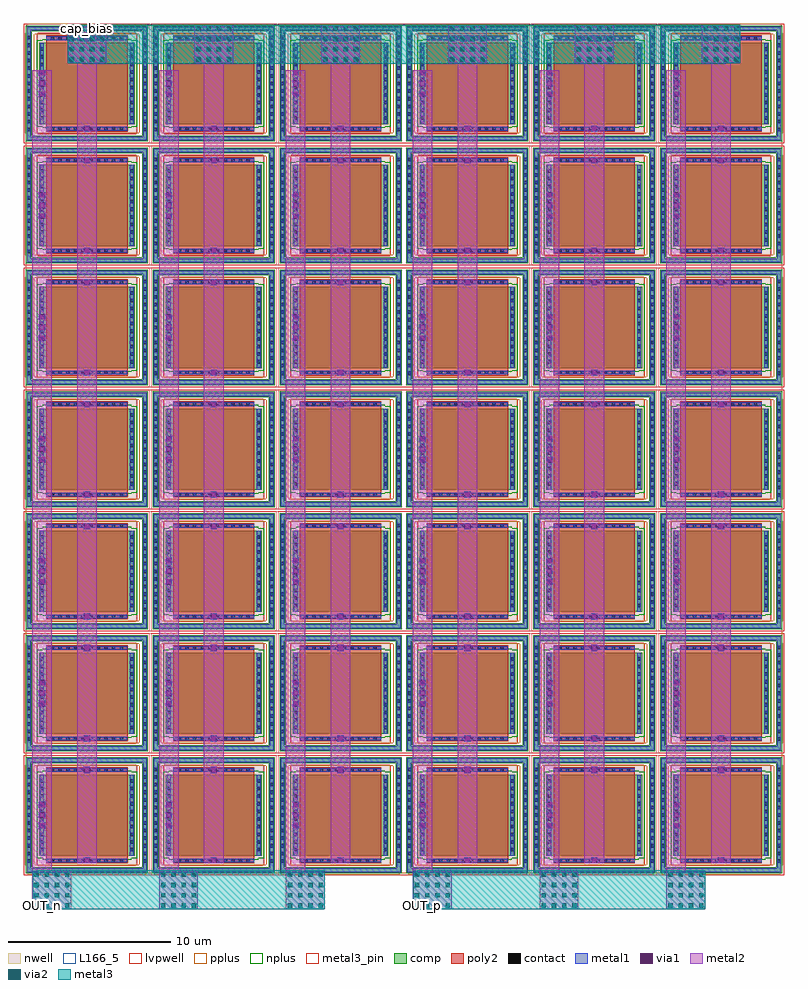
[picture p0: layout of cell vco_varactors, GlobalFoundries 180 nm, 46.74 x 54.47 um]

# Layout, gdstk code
import gdstk
lib = gdstk.Library(unit=1e-6, precision=1e-09)
def R(c, l, rs):  # rectangles x0, y0, x1, y1
    for r in rs: c.add(gdstk.rectangle(r[:2], r[2:], *l))
def A(c, l, x, y, w, h, nx, ny, dx, dy):  # array of equal rectangles
    R(c, l, [(x+i*dx, y+j*dy, x+i*dx+w, y+j*dy+h) for i in range(nx) for j in range(ny)])
nwell = (21, 0)
comp = (22, 0)
poly2 = (30, 0)
pplus = (31, 0)
nplus = (32, 0)
contact = (33, 0)
metal1 = (34, 0)
via1 = (35, 0)
metal2 = (36, 0)
via2 = (38, 0)
metal3 = (42, 0)
metal3_pin = (42, 10)
L166_5 = (166, 5)
lvpwell = (204, 0)

vco_varactors = lib.new_cell('vco_varactors')
A(vco_varactors, nwell, 0.51, 0.3, 6.12, 6.16, 6, 7, 7.8, 7.5)
A(vco_varactors, comp, -0.18, -0.18, 7.5, 0.36, 6, 2, 7.8, 6.76)
A(vco_varactors, comp, -0.18, 0.18, 0.36, 6.4, 1, 7, 0, 7.5)
A(vco_varactors, comp, 6.96, 0.18, 0.36, 6.4, 1, 7, 0, 7.5)
A(vco_varactors, comp, 7.62, 0.18, 0.36, 6.4, 1, 7, 0, 7.5)
A(vco_varactors, comp, 14.76, 0.18, 0.36, 6.4, 1, 7, 0, 7.5)
A(vco_varactors, comp, 15.42, 0.18, 0.36, 6.4, 1, 7, 0, 7.5)
A(vco_varactors, comp, 22.56, 0.18, 0.36, 6.4, 1, 7, 0, 7.5)
A(vco_varactors, comp, 23.22, 0.18, 0.36, 6.4, 1, 7, 0, 7.5)
A(vco_varactors, comp, 30.36, 0.18, 0.36, 6.4, 1, 7, 0, 7.5)
A(vco_varactors, comp, 31.02, 0.18, 0.36, 6.4, 1, 7, 0, 7.5)
A(vco_varactors, comp, 38.16, 0.18, 0.36, 6.4, 1, 7, 0, 7.5)
A(vco_varactors, comp, 38.82, 0.18, 0.36, 6.4, 1, 7, 0, 7.5)
A(vco_varactors, comp, 45.96, 0.18, 0.36, 6.4, 1, 7, 0, 7.5)
A(vco_varactors, comp, 0.63, 0.88, 5.88, 5, 6, 7, 7.8, 7.5)
A(vco_varactors, comp, -0.18, 7.32, 7.5, 0.36, 6, 2, 7.8, 6.76)
A(vco_varactors, comp, -0.18, 14.82, 7.5, 0.36, 6, 2, 7.8, 6.76)
A(vco_varactors, comp, -0.18, 22.32, 7.5, 0.36, 6, 2, 7.8, 6.76)
A(vco_varactors, comp, -0.18, 29.82, 7.5, 0.36, 6, 2, 7.8, 6.76)
A(vco_varactors, comp, -0.18, 37.32, 7.5, 0.36, 6, 2, 7.8, 6.76)
A(vco_varactors, comp, -0.18, 44.82, 7.5, 0.36, 6, 2, 7.8, 6.76)
A(vco_varactors, poly2, 1.07, 0.42, 5, 5.92, 6, 7, 7.8, 7.5)
A(vco_varactors, pplus, -0.08, -0.29, 7.3, 0.09, 6, 2, 7.8, 52.25)
A(vco_varactors, pplus, -0.21, 0.34, 0.55, 6.08, 1, 7, 0, 7.5)
A(vco_varactors, pplus, 6.8, 0.34, 1.34, 6.08, 5, 7, 7.8, 7.5)
A(vco_varactors, pplus, 45.8, 0.34, 0.55, 6.08, 1, 7, 0, 7.5)
A(vco_varactors, pplus, -0.2, 6.455, 46.54, 1.35, 1, 6, 0, 7.5)
R(vco_varactors, pplus, [(-0.2,-0.2,46.34,0.305), (-0.21,0.305,46.35,0.34), (-0.21,6.42,46.35,6.455), (-0.21,7.805,46.35,7.84), (-0.21,13.92,46.35,13.955), (-0.21,15.305,46.35,15.34), (-0.21,21.42,46.35,21.455), (-0.21,22.805,46.35,22.84), (-0.21,28.92,46.35,28.955), (-0.21,30.305,46.35,30.34), (-0.21,36.42,46.35,36.455), (-0.21,37.805,46.35,37.84), (-0.21,43.92,46.35,43.955), (-0.21,45.305,46.35,45.34), (-0.21,51.42,46.35,51.455), (-0.2,51.455,46.34,51.96)])
A(vco_varactors, nplus, 0.84, 0.65, 5.46, 0.07, 6, 2, 7.8, 5.39)
A(vco_varactors, nplus, 0.47, 0.72, 6.2, 5.32, 6, 7, 7.8, 7.5)
A(vco_varactors, nplus, 0.84, 8.15, 5.46, 0.07, 6, 2, 7.8, 5.39)
A(vco_varactors, nplus, 0.84, 15.65, 5.46, 0.07, 6, 2, 7.8, 5.39)
A(vco_varactors, nplus, 0.84, 23.15, 5.46, 0.07, 6, 2, 7.8, 5.39)
A(vco_varactors, nplus, 0.84, 30.65, 5.46, 0.07, 6, 2, 7.8, 5.39)
A(vco_varactors, nplus, 0.84, 38.15, 5.46, 0.07, 6, 2, 7.8, 5.39)
A(vco_varactors, nplus, 0.84, 45.65, 5.46, 0.07, 6, 2, 7.8, 5.39)
A(vco_varactors, contact, -0.11, 0.45, 0.22, 0.22, 1, 13, 0, 0.47)
A(vco_varactors, contact, 7.03, 0.45, 0.22, 0.22, 1, 13, 0, 0.47)
A(vco_varactors, contact, 7.69, 0.45, 0.22, 0.22, 1, 13, 0, 0.47)
A(vco_varactors, contact, 14.83, 0.45, 0.22, 0.22, 1, 13, 0, 0.47)
A(vco_varactors, contact, 15.49, 0.45, 0.22, 0.22, 1, 13, 0, 0.47)
A(vco_varactors, contact, 22.63, 0.45, 0.22, 0.22, 1, 13, 0, 0.47)
A(vco_varactors, contact, 23.29, 0.45, 0.22, 0.22, 1, 13, 0, 0.47)
A(vco_varactors, contact, 30.43, 0.45, 0.22, 0.22, 1, 13, 0, 0.47)
A(vco_varactors, contact, 31.09, 0.45, 0.22, 0.22, 1, 13, 0, 0.47)
A(vco_varactors, contact, 38.23, 0.45, 0.22, 0.22, 1, 13, 0, 0.47)
A(vco_varactors, contact, 38.89, 0.45, 0.22, 0.22, 1, 13, 0, 0.47)
A(vco_varactors, contact, 46.03, 0.45, 0.22, 0.22, 1, 13, 0, 0.47)
A(vco_varactors, contact, 1.345, 0.49, 0.22, 0.22, 10, 2, 0.47, 5.56)
A(vco_varactors, contact, 9.145, 0.49, 0.22, 0.22, 10, 2, 0.47, 5.56)
A(vco_varactors, contact, 16.945, 0.49, 0.22, 0.22, 10, 2, 0.47, 5.56)
A(vco_varactors, contact, 24.745, 0.49, 0.22, 0.22, 10, 2, 0.47, 5.56)
A(vco_varactors, contact, 32.545, 0.49, 0.22, 0.22, 10, 2, 0.47, 5.56)
A(vco_varactors, contact, 40.345, 0.49, 0.22, 0.22, 10, 2, 0.47, 5.56)
A(vco_varactors, contact, 0.7, 1.155, 0.22, 0.22, 1, 10, 0, 0.47)
A(vco_varactors, contact, 6.22, 1.155, 0.22, 0.22, 1, 10, 0, 0.47)
A(vco_varactors, contact, 8.5, 1.155, 0.22, 0.22, 1, 10, 0, 0.47)
A(vco_varactors, contact, 14.02, 1.155, 0.22, 0.22, 1, 10, 0, 0.47)
A(vco_varactors, contact, 16.3, 1.155, 0.22, 0.22, 1, 10, 0, 0.47)
A(vco_varactors, contact, 21.82, 1.155, 0.22, 0.22, 1, 10, 0, 0.47)
A(vco_varactors, contact, 24.1, 1.155, 0.22, 0.22, 1, 10, 0, 0.47)
A(vco_varactors, contact, 29.62, 1.155, 0.22, 0.22, 1, 10, 0, 0.47)
A(vco_varactors, contact, 31.9, 1.155, 0.22, 0.22, 1, 10, 0, 0.47)
A(vco_varactors, contact, 37.42, 1.155, 0.22, 0.22, 1, 10, 0, 0.47)
A(vco_varactors, contact, 39.7, 1.155, 0.22, 0.22, 1, 10, 0, 0.47)
A(vco_varactors, contact, 45.22, 1.155, 0.22, 0.22, 1, 10, 0, 0.47)
A(vco_varactors, contact, -0.11, 7.95, 0.22, 0.22, 1, 13, 0, 0.47)
A(vco_varactors, contact, 7.03, 7.95, 0.22, 0.22, 1, 13, 0, 0.47)
A(vco_varactors, contact, 7.69, 7.95, 0.22, 0.22, 1, 13, 0, 0.47)
A(vco_varactors, contact, 14.83, 7.95, 0.22, 0.22, 1, 13, 0, 0.47)
A(vco_varactors, contact, 15.49, 7.95, 0.22, 0.22, 1, 13, 0, 0.47)
A(vco_varactors, contact, 22.63, 7.95, 0.22, 0.22, 1, 13, 0, 0.47)
A(vco_varactors, contact, 23.29, 7.95, 0.22, 0.22, 1, 13, 0, 0.47)
A(vco_varactors, contact, 30.43, 7.95, 0.22, 0.22, 1, 13, 0, 0.47)
A(vco_varactors, contact, 31.09, 7.95, 0.22, 0.22, 1, 13, 0, 0.47)
A(vco_varactors, contact, 38.23, 7.95, 0.22, 0.22, 1, 13, 0, 0.47)
A(vco_varactors, contact, 38.89, 7.95, 0.22, 0.22, 1, 13, 0, 0.47)
A(vco_varactors, contact, 46.03, 7.95, 0.22, 0.22, 1, 13, 0, 0.47)
A(vco_varactors, contact, 1.345, 7.99, 0.22, 0.22, 10, 2, 0.47, 5.56)
A(vco_varactors, contact, 9.145, 7.99, 0.22, 0.22, 10, 2, 0.47, 5.56)
A(vco_varactors, contact, 16.945, 7.99, 0.22, 0.22, 10, 2, 0.47, 5.56)
A(vco_varactors, contact, 24.745, 7.99, 0.22, 0.22, 10, 2, 0.47, 5.56)
A(vco_varactors, contact, 32.545, 7.99, 0.22, 0.22, 10, 2, 0.47, 5.56)
A(vco_varactors, contact, 40.345, 7.99, 0.22, 0.22, 10, 2, 0.47, 5.56)
A(vco_varactors, contact, 0.7, 8.655, 0.22, 0.22, 1, 10, 0, 0.47)
A(vco_varactors, contact, 6.22, 8.655, 0.22, 0.22, 1, 10, 0, 0.47)
A(vco_varactors, contact, 8.5, 8.655, 0.22, 0.22, 1, 10, 0, 0.47)
A(vco_varactors, contact, 14.02, 8.655, 0.22, 0.22, 1, 10, 0, 0.47)
A(vco_varactors, contact, 16.3, 8.655, 0.22, 0.22, 1, 10, 0, 0.47)
A(vco_varactors, contact, 21.82, 8.655, 0.22, 0.22, 1, 10, 0, 0.47)
A(vco_varactors, contact, 24.1, 8.655, 0.22, 0.22, 1, 10, 0, 0.47)
A(vco_varactors, contact, 29.62, 8.655, 0.22, 0.22, 1, 10, 0, 0.47)
A(vco_varactors, contact, 31.9, 8.655, 0.22, 0.22, 1, 10, 0, 0.47)
A(vco_varactors, contact, 37.42, 8.655, 0.22, 0.22, 1, 10, 0, 0.47)
A(vco_varactors, contact, 39.7, 8.655, 0.22, 0.22, 1, 10, 0, 0.47)
A(vco_varactors, contact, 45.22, 8.655, 0.22, 0.22, 1, 10, 0, 0.47)
A(vco_varactors, contact, -0.11, 15.45, 0.22, 0.22, 1, 13, 0, 0.47)
A(vco_varactors, contact, 7.03, 15.45, 0.22, 0.22, 1, 13, 0, 0.47)
A(vco_varactors, contact, 7.69, 15.45, 0.22, 0.22, 1, 13, 0, 0.47)
A(vco_varactors, contact, 14.83, 15.45, 0.22, 0.22, 1, 13, 0, 0.47)
A(vco_varactors, contact, 15.49, 15.45, 0.22, 0.22, 1, 13, 0, 0.47)
A(vco_varactors, contact, 22.63, 15.45, 0.22, 0.22, 1, 13, 0, 0.47)
A(vco_varactors, contact, 23.29, 15.45, 0.22, 0.22, 1, 13, 0, 0.47)
A(vco_varactors, contact, 30.43, 15.45, 0.22, 0.22, 1, 13, 0, 0.47)
A(vco_varactors, contact, 31.09, 15.45, 0.22, 0.22, 1, 13, 0, 0.47)
A(vco_varactors, contact, 38.23, 15.45, 0.22, 0.22, 1, 13, 0, 0.47)
A(vco_varactors, contact, 38.89, 15.45, 0.22, 0.22, 1, 13, 0, 0.47)
A(vco_varactors, contact, 46.03, 15.45, 0.22, 0.22, 1, 13, 0, 0.47)
A(vco_varactors, contact, 1.345, 15.49, 0.22, 0.22, 10, 2, 0.47, 5.56)
A(vco_varactors, contact, 9.145, 15.49, 0.22, 0.22, 10, 2, 0.47, 5.56)
A(vco_varactors, contact, 16.945, 15.49, 0.22, 0.22, 10, 2, 0.47, 5.56)
A(vco_varactors, contact, 24.745, 15.49, 0.22, 0.22, 10, 2, 0.47, 5.56)
A(vco_varactors, contact, 32.545, 15.49, 0.22, 0.22, 10, 2, 0.47, 5.56)
A(vco_varactors, contact, 40.345, 15.49, 0.22, 0.22, 10, 2, 0.47, 5.56)
A(vco_varactors, contact, 0.7, 16.155, 0.22, 0.22, 1, 10, 0, 0.47)
A(vco_varactors, contact, 6.22, 16.155, 0.22, 0.22, 1, 10, 0, 0.47)
A(vco_varactors, contact, 8.5, 16.155, 0.22, 0.22, 1, 10, 0, 0.47)
A(vco_varactors, contact, 14.02, 16.155, 0.22, 0.22, 1, 10, 0, 0.47)
A(vco_varactors, contact, 16.3, 16.155, 0.22, 0.22, 1, 10, 0, 0.47)
A(vco_varactors, contact, 21.82, 16.155, 0.22, 0.22, 1, 10, 0, 0.47)
A(vco_varactors, contact, 24.1, 16.155, 0.22, 0.22, 1, 10, 0, 0.47)
A(vco_varactors, contact, 29.62, 16.155, 0.22, 0.22, 1, 10, 0, 0.47)
A(vco_varactors, contact, 31.9, 16.155, 0.22, 0.22, 1, 10, 0, 0.47)
A(vco_varactors, contact, 37.42, 16.155, 0.22, 0.22, 1, 10, 0, 0.47)
A(vco_varactors, contact, 39.7, 16.155, 0.22, 0.22, 1, 10, 0, 0.47)
A(vco_varactors, contact, 45.22, 16.155, 0.22, 0.22, 1, 10, 0, 0.47)
A(vco_varactors, contact, -0.11, 22.95, 0.22, 0.22, 1, 13, 0, 0.47)
A(vco_varactors, contact, 7.03, 22.95, 0.22, 0.22, 1, 13, 0, 0.47)
A(vco_varactors, contact, 7.69, 22.95, 0.22, 0.22, 1, 13, 0, 0.47)
A(vco_varactors, contact, 14.83, 22.95, 0.22, 0.22, 1, 13, 0, 0.47)
A(vco_varactors, contact, 15.49, 22.95, 0.22, 0.22, 1, 13, 0, 0.47)
A(vco_varactors, contact, 22.63, 22.95, 0.22, 0.22, 1, 13, 0, 0.47)
A(vco_varactors, contact, 23.29, 22.95, 0.22, 0.22, 1, 13, 0, 0.47)
A(vco_varactors, contact, 30.43, 22.95, 0.22, 0.22, 1, 13, 0, 0.47)
A(vco_varactors, contact, 31.09, 22.95, 0.22, 0.22, 1, 13, 0, 0.47)
A(vco_varactors, contact, 38.23, 22.95, 0.22, 0.22, 1, 13, 0, 0.47)
A(vco_varactors, contact, 38.89, 22.95, 0.22, 0.22, 1, 13, 0, 0.47)
A(vco_varactors, contact, 46.03, 22.95, 0.22, 0.22, 1, 13, 0, 0.47)
A(vco_varactors, contact, 1.345, 22.99, 0.22, 0.22, 10, 2, 0.47, 5.56)
A(vco_varactors, contact, 9.145, 22.99, 0.22, 0.22, 10, 2, 0.47, 5.56)
A(vco_varactors, contact, 16.945, 22.99, 0.22, 0.22, 10, 2, 0.47, 5.56)
A(vco_varactors, contact, 24.745, 22.99, 0.22, 0.22, 10, 2, 0.47, 5.56)
A(vco_varactors, contact, 32.545, 22.99, 0.22, 0.22, 10, 2, 0.47, 5.56)
A(vco_varactors, contact, 40.345, 22.99, 0.22, 0.22, 10, 2, 0.47, 5.56)
A(vco_varactors, contact, 0.7, 23.655, 0.22, 0.22, 1, 10, 0, 0.47)
A(vco_varactors, contact, 6.22, 23.655, 0.22, 0.22, 1, 10, 0, 0.47)
A(vco_varactors, contact, 8.5, 23.655, 0.22, 0.22, 1, 10, 0, 0.47)
A(vco_varactors, contact, 14.02, 23.655, 0.22, 0.22, 1, 10, 0, 0.47)
A(vco_varactors, contact, 16.3, 23.655, 0.22, 0.22, 1, 10, 0, 0.47)
A(vco_varactors, contact, 21.82, 23.655, 0.22, 0.22, 1, 10, 0, 0.47)
A(vco_varactors, contact, 24.1, 23.655, 0.22, 0.22, 1, 10, 0, 0.47)
A(vco_varactors, contact, 29.62, 23.655, 0.22, 0.22, 1, 10, 0, 0.47)
A(vco_varactors, contact, 31.9, 23.655, 0.22, 0.22, 1, 10, 0, 0.47)
A(vco_varactors, contact, 37.42, 23.655, 0.22, 0.22, 1, 10, 0, 0.47)
A(vco_varactors, contact, 39.7, 23.655, 0.22, 0.22, 1, 10, 0, 0.47)
A(vco_varactors, contact, 45.22, 23.655, 0.22, 0.22, 1, 10, 0, 0.47)
A(vco_varactors, contact, -0.11, 30.45, 0.22, 0.22, 1, 13, 0, 0.47)
A(vco_varactors, contact, 7.03, 30.45, 0.22, 0.22, 1, 13, 0, 0.47)
A(vco_varactors, contact, 7.69, 30.45, 0.22, 0.22, 1, 13, 0, 0.47)
A(vco_varactors, contact, 14.83, 30.45, 0.22, 0.22, 1, 13, 0, 0.47)
A(vco_varactors, contact, 15.49, 30.45, 0.22, 0.22, 1, 13, 0, 0.47)
A(vco_varactors, contact, 22.63, 30.45, 0.22, 0.22, 1, 13, 0, 0.47)
A(vco_varactors, contact, 23.29, 30.45, 0.22, 0.22, 1, 13, 0, 0.47)
A(vco_varactors, contact, 30.43, 30.45, 0.22, 0.22, 1, 13, 0, 0.47)
A(vco_varactors, contact, 31.09, 30.45, 0.22, 0.22, 1, 13, 0, 0.47)
A(vco_varactors, contact, 38.23, 30.45, 0.22, 0.22, 1, 13, 0, 0.47)
A(vco_varactors, contact, 38.89, 30.45, 0.22, 0.22, 1, 13, 0, 0.47)
A(vco_varactors, contact, 46.03, 30.45, 0.22, 0.22, 1, 13, 0, 0.47)
A(vco_varactors, contact, 1.345, 30.49, 0.22, 0.22, 10, 2, 0.47, 5.56)
A(vco_varactors, contact, 9.145, 30.49, 0.22, 0.22, 10, 2, 0.47, 5.56)
A(vco_varactors, contact, 16.945, 30.49, 0.22, 0.22, 10, 2, 0.47, 5.56)
A(vco_varactors, contact, 24.745, 30.49, 0.22, 0.22, 10, 2, 0.47, 5.56)
A(vco_varactors, contact, 32.545, 30.49, 0.22, 0.22, 10, 2, 0.47, 5.56)
A(vco_varactors, contact, 40.345, 30.49, 0.22, 0.22, 10, 2, 0.47, 5.56)
A(vco_varactors, contact, 0.7, 31.155, 0.22, 0.22, 1, 10, 0, 0.47)
A(vco_varactors, contact, 6.22, 31.155, 0.22, 0.22, 1, 10, 0, 0.47)
A(vco_varactors, contact, 8.5, 31.155, 0.22, 0.22, 1, 10, 0, 0.47)
A(vco_varactors, contact, 14.02, 31.155, 0.22, 0.22, 1, 10, 0, 0.47)
A(vco_varactors, contact, 16.3, 31.155, 0.22, 0.22, 1, 10, 0, 0.47)
A(vco_varactors, contact, 21.82, 31.155, 0.22, 0.22, 1, 10, 0, 0.47)
A(vco_varactors, contact, 24.1, 31.155, 0.22, 0.22, 1, 10, 0, 0.47)
A(vco_varactors, contact, 29.62, 31.155, 0.22, 0.22, 1, 10, 0, 0.47)
A(vco_varactors, contact, 31.9, 31.155, 0.22, 0.22, 1, 10, 0, 0.47)
A(vco_varactors, contact, 37.42, 31.155, 0.22, 0.22, 1, 10, 0, 0.47)
A(vco_varactors, contact, 39.7, 31.155, 0.22, 0.22, 1, 10, 0, 0.47)
A(vco_varactors, contact, 45.22, 31.155, 0.22, 0.22, 1, 10, 0, 0.47)
A(vco_varactors, contact, -0.11, 37.95, 0.22, 0.22, 1, 13, 0, 0.47)
A(vco_varactors, contact, 7.03, 37.95, 0.22, 0.22, 1, 13, 0, 0.47)
A(vco_varactors, contact, 7.69, 37.95, 0.22, 0.22, 1, 13, 0, 0.47)
A(vco_varactors, contact, 14.83, 37.95, 0.22, 0.22, 1, 13, 0, 0.47)
A(vco_varactors, contact, 15.49, 37.95, 0.22, 0.22, 1, 13, 0, 0.47)
A(vco_varactors, contact, 22.63, 37.95, 0.22, 0.22, 1, 13, 0, 0.47)
A(vco_varactors, contact, 23.29, 37.95, 0.22, 0.22, 1, 13, 0, 0.47)
A(vco_varactors, contact, 30.43, 37.95, 0.22, 0.22, 1, 13, 0, 0.47)
A(vco_varactors, contact, 31.09, 37.95, 0.22, 0.22, 1, 13, 0, 0.47)
A(vco_varactors, contact, 38.23, 37.95, 0.22, 0.22, 1, 13, 0, 0.47)
A(vco_varactors, contact, 38.89, 37.95, 0.22, 0.22, 1, 13, 0, 0.47)
A(vco_varactors, contact, 46.03, 37.95, 0.22, 0.22, 1, 13, 0, 0.47)
A(vco_varactors, contact, 1.345, 37.99, 0.22, 0.22, 10, 2, 0.47, 5.56)
A(vco_varactors, contact, 9.145, 37.99, 0.22, 0.22, 10, 2, 0.47, 5.56)
A(vco_varactors, contact, 16.945, 37.99, 0.22, 0.22, 10, 2, 0.47, 5.56)
A(vco_varactors, contact, 24.745, 37.99, 0.22, 0.22, 10, 2, 0.47, 5.56)
A(vco_varactors, contact, 32.545, 37.99, 0.22, 0.22, 10, 2, 0.47, 5.56)
A(vco_varactors, contact, 40.345, 37.99, 0.22, 0.22, 10, 2, 0.47, 5.56)
A(vco_varactors, contact, 0.7, 38.655, 0.22, 0.22, 1, 10, 0, 0.47)
A(vco_varactors, contact, 6.22, 38.655, 0.22, 0.22, 1, 10, 0, 0.47)
A(vco_varactors, contact, 8.5, 38.655, 0.22, 0.22, 1, 10, 0, 0.47)
A(vco_varactors, contact, 14.02, 38.655, 0.22, 0.22, 1, 10, 0, 0.47)
A(vco_varactors, contact, 16.3, 38.655, 0.22, 0.22, 1, 10, 0, 0.47)
A(vco_varactors, contact, 21.82, 38.655, 0.22, 0.22, 1, 10, 0, 0.47)
A(vco_varactors, contact, 24.1, 38.655, 0.22, 0.22, 1, 10, 0, 0.47)
A(vco_varactors, contact, 29.62, 38.655, 0.22, 0.22, 1, 10, 0, 0.47)
A(vco_varactors, contact, 31.9, 38.655, 0.22, 0.22, 1, 10, 0, 0.47)
A(vco_varactors, contact, 37.42, 38.655, 0.22, 0.22, 1, 10, 0, 0.47)
A(vco_varactors, contact, 39.7, 38.655, 0.22, 0.22, 1, 10, 0, 0.47)
A(vco_varactors, contact, 45.22, 38.655, 0.22, 0.22, 1, 10, 0, 0.47)
A(vco_varactors, contact, -0.11, 45.45, 0.22, 0.22, 1, 13, 0, 0.47)
A(vco_varactors, contact, 7.03, 45.45, 0.22, 0.22, 1, 13, 0, 0.47)
A(vco_varactors, contact, 7.69, 45.45, 0.22, 0.22, 1, 13, 0, 0.47)
A(vco_varactors, contact, 14.83, 45.45, 0.22, 0.22, 1, 13, 0, 0.47)
A(vco_varactors, contact, 15.49, 45.45, 0.22, 0.22, 1, 13, 0, 0.47)
A(vco_varactors, contact, 22.63, 45.45, 0.22, 0.22, 1, 13, 0, 0.47)
A(vco_varactors, contact, 23.29, 45.45, 0.22, 0.22, 1, 13, 0, 0.47)
A(vco_varactors, contact, 30.43, 45.45, 0.22, 0.22, 1, 13, 0, 0.47)
A(vco_varactors, contact, 31.09, 45.45, 0.22, 0.22, 1, 13, 0, 0.47)
A(vco_varactors, contact, 38.23, 45.45, 0.22, 0.22, 1, 13, 0, 0.47)
A(vco_varactors, contact, 38.89, 45.45, 0.22, 0.22, 1, 13, 0, 0.47)
A(vco_varactors, contact, 46.03, 45.45, 0.22, 0.22, 1, 13, 0, 0.47)
A(vco_varactors, contact, 1.345, 45.49, 0.22, 0.22, 10, 2, 0.47, 5.56)
A(vco_varactors, contact, 9.145, 45.49, 0.22, 0.22, 10, 2, 0.47, 5.56)
A(vco_varactors, contact, 16.945, 45.49, 0.22, 0.22, 10, 2, 0.47, 5.56)
A(vco_varactors, contact, 24.745, 45.49, 0.22, 0.22, 10, 2, 0.47, 5.56)
A(vco_varactors, contact, 32.545, 45.49, 0.22, 0.22, 10, 2, 0.47, 5.56)
A(vco_varactors, contact, 40.345, 45.49, 0.22, 0.22, 10, 2, 0.47, 5.56)
A(vco_varactors, contact, 0.7, 46.155, 0.22, 0.22, 1, 10, 0, 0.47)
A(vco_varactors, contact, 6.22, 46.155, 0.22, 0.22, 1, 10, 0, 0.47)
A(vco_varactors, contact, 8.5, 46.155, 0.22, 0.22, 1, 10, 0, 0.47)
A(vco_varactors, contact, 14.02, 46.155, 0.22, 0.22, 1, 10, 0, 0.47)
A(vco_varactors, contact, 16.3, 46.155, 0.22, 0.22, 1, 10, 0, 0.47)
A(vco_varactors, contact, 21.82, 46.155, 0.22, 0.22, 1, 10, 0, 0.47)
A(vco_varactors, contact, 24.1, 46.155, 0.22, 0.22, 1, 10, 0, 0.47)
A(vco_varactors, contact, 29.62, 46.155, 0.22, 0.22, 1, 10, 0, 0.47)
A(vco_varactors, contact, 31.9, 46.155, 0.22, 0.22, 1, 10, 0, 0.47)
A(vco_varactors, contact, 37.42, 46.155, 0.22, 0.22, 1, 10, 0, 0.47)
A(vco_varactors, contact, 39.7, 46.155, 0.22, 0.22, 1, 10, 0, 0.47)
A(vco_varactors, contact, 45.22, 46.155, 0.22, 0.22, 1, 10, 0, 0.47)
A(vco_varactors, metal1, -0.115, -0.115, 7.37, 0.23, 6, 2, 7.8, 6.76)
A(vco_varactors, metal1, -0.115, 0.115, 0.23, 6.53, 1, 7, 0, 7.5)
A(vco_varactors, metal1, 7.025, 0.115, 0.23, 6.53, 1, 7, 0, 7.5)
A(vco_varactors, metal1, 7.685, 0.115, 0.23, 6.53, 1, 7, 0, 7.5)
A(vco_varactors, metal1, 14.825, 0.115, 0.23, 6.53, 1, 7, 0, 7.5)
A(vco_varactors, metal1, 15.485, 0.115, 0.23, 6.53, 1, 7, 0, 7.5)
A(vco_varactors, metal1, 22.625, 0.115, 0.23, 6.53, 1, 7, 0, 7.5)
A(vco_varactors, metal1, 23.285, 0.115, 0.23, 6.53, 1, 7, 0, 7.5)
A(vco_varactors, metal1, 30.425, 0.115, 0.23, 6.53, 1, 7, 0, 7.5)
A(vco_varactors, metal1, 31.085, 0.115, 0.23, 6.53, 1, 7, 0, 7.5)
A(vco_varactors, metal1, 38.225, 0.115, 0.23, 6.53, 1, 7, 0, 7.5)
A(vco_varactors, metal1, 38.885, 0.115, 0.23, 6.53, 1, 7, 0, 7.5)
A(vco_varactors, metal1, 46.025, 0.115, 0.23, 6.53, 1, 7, 0, 7.5)
A(vco_varactors, metal1, 3.38, 0.41, 0.38, 0.075, 6, 2, 7.8, 0.305)
A(vco_varactors, metal1, 1.08, 0.485, 4.98, 0.23, 6, 2, 7.8, 5.56)
A(vco_varactors, metal1, 0.695, 0.89, 0.23, 1.67, 6, 2, 7.8, 3.31)
A(vco_varactors, metal1, 6.215, 0.89, 0.23, 4.98, 6, 7, 7.8, 7.5)
A(vco_varactors, metal1, 0.62, 2.56, 0.38, 0.38, 6, 3, 7.8, 0.63)
A(vco_varactors, metal1, 0.695, 2.94, 0.23, 0.25, 6, 2, 7.8, 0.63)
A(vco_varactors, metal1, 3.38, 5.97, 0.38, 0.075, 6, 2, 7.8, 0.305)
A(vco_varactors, metal1, -0.115, 7.385, 7.37, 0.23, 6, 2, 7.8, 6.76)
A(vco_varactors, metal1, 3.38, 7.91, 0.38, 0.075, 6, 2, 7.8, 0.305)
A(vco_varactors, metal1, 1.08, 7.985, 4.98, 0.23, 6, 2, 7.8, 5.56)
A(vco_varactors, metal1, 0.695, 8.39, 0.23, 1.67, 6, 2, 7.8, 3.31)
A(vco_varactors, metal1, 0.62, 10.06, 0.38, 0.38, 6, 3, 7.8, 0.63)
A(vco_varactors, metal1, 0.695, 10.44, 0.23, 0.25, 6, 2, 7.8, 0.63)
A(vco_varactors, metal1, 3.38, 13.47, 0.38, 0.075, 6, 2, 7.8, 0.305)
A(vco_varactors, metal1, -0.115, 14.885, 7.37, 0.23, 6, 2, 7.8, 6.76)
A(vco_varactors, metal1, 3.38, 15.41, 0.38, 0.075, 6, 2, 7.8, 0.305)
A(vco_varactors, metal1, 1.08, 15.485, 4.98, 0.23, 6, 2, 7.8, 5.56)
A(vco_varactors, metal1, 0.695, 15.89, 0.23, 1.67, 6, 2, 7.8, 3.31)
A(vco_varactors, metal1, 0.62, 17.56, 0.38, 0.38, 6, 3, 7.8, 0.63)
A(vco_varactors, metal1, 0.695, 17.94, 0.23, 0.25, 6, 2, 7.8, 0.63)
A(vco_varactors, metal1, 3.38, 20.97, 0.38, 0.075, 6, 2, 7.8, 0.305)
A(vco_varactors, metal1, -0.115, 22.385, 7.37, 0.23, 6, 2, 7.8, 6.76)
A(vco_varactors, metal1, 3.38, 22.91, 0.38, 0.075, 6, 2, 7.8, 0.305)
A(vco_varactors, metal1, 1.08, 22.985, 4.98, 0.23, 6, 2, 7.8, 5.56)
A(vco_varactors, metal1, 0.695, 23.39, 0.23, 1.67, 6, 2, 7.8, 3.31)
A(vco_varactors, metal1, 0.62, 25.06, 0.38, 0.38, 6, 3, 7.8, 0.63)
A(vco_varactors, metal1, 0.695, 25.44, 0.23, 0.25, 6, 2, 7.8, 0.63)
A(vco_varactors, metal1, 3.38, 28.47, 0.38, 0.075, 6, 2, 7.8, 0.305)
A(vco_varactors, metal1, -0.115, 29.885, 7.37, 0.23, 6, 2, 7.8, 6.76)
A(vco_varactors, metal1, 3.38, 30.41, 0.38, 0.075, 6, 2, 7.8, 0.305)
A(vco_varactors, metal1, 1.08, 30.485, 4.98, 0.23, 6, 2, 7.8, 5.56)
A(vco_varactors, metal1, 0.695, 30.89, 0.23, 1.67, 6, 2, 7.8, 3.31)
A(vco_varactors, metal1, 0.62, 32.56, 0.38, 0.38, 6, 3, 7.8, 0.63)
A(vco_varactors, metal1, 0.695, 32.94, 0.23, 0.25, 6, 2, 7.8, 0.63)
A(vco_varactors, metal1, 3.38, 35.97, 0.38, 0.075, 6, 2, 7.8, 0.305)
A(vco_varactors, metal1, -0.115, 37.385, 7.37, 0.23, 6, 2, 7.8, 6.76)
A(vco_varactors, metal1, 3.38, 37.91, 0.38, 0.075, 6, 2, 7.8, 0.305)
A(vco_varactors, metal1, 1.08, 37.985, 4.98, 0.23, 6, 2, 7.8, 5.56)
A(vco_varactors, metal1, 0.695, 38.39, 0.23, 1.67, 6, 2, 7.8, 3.31)
A(vco_varactors, metal1, 0.62, 40.06, 0.38, 0.38, 6, 3, 7.8, 0.63)
A(vco_varactors, metal1, 0.695, 40.44, 0.23, 0.25, 6, 2, 7.8, 0.63)
A(vco_varactors, metal1, 3.38, 43.47, 0.38, 0.075, 6, 2, 7.8, 0.305)
A(vco_varactors, metal1, -0.115, 44.885, 7.37, 0.23, 6, 2, 7.8, 6.76)
A(vco_varactors, metal1, 3.38, 45.41, 0.38, 0.075, 6, 2, 7.8, 0.305)
A(vco_varactors, metal1, 1.08, 45.485, 4.98, 0.23, 6, 2, 7.8, 5.56)
A(vco_varactors, metal1, 0.695, 45.89, 0.23, 1.67, 6, 2, 7.8, 3.31)
A(vco_varactors, metal1, 0.62, 47.56, 0.38, 0.38, 6, 3, 7.8, 0.63)
A(vco_varactors, metal1, 0.695, 47.94, 0.23, 0.25, 6, 2, 7.8, 0.63)
A(vco_varactors, metal1, 3.38, 50.97, 0.38, 0.075, 6, 2, 7.8, 0.305)
A(vco_varactors, via1, 3.44, 0.47, 0.26, 0.26, 6, 2, 7.8, 5.56)
A(vco_varactors, via1, 0.68, 2.62, 0.26, 0.26, 6, 3, 7.8, 0.63)
A(vco_varactors, via1, 3.44, 7.97, 0.26, 0.26, 6, 2, 7.8, 5.56)
A(vco_varactors, via1, 0.68, 10.12, 0.26, 0.26, 6, 3, 7.8, 0.63)
A(vco_varactors, via1, 3.44, 15.47, 0.26, 0.26, 6, 2, 7.8, 5.56)
A(vco_varactors, via1, 0.68, 17.62, 0.26, 0.26, 6, 3, 7.8, 0.63)
A(vco_varactors, via1, 3.44, 22.97, 0.26, 0.26, 6, 2, 7.8, 5.56)
A(vco_varactors, via1, 0.68, 25.12, 0.26, 0.26, 6, 3, 7.8, 0.63)
A(vco_varactors, via1, 3.44, 30.47, 0.26, 0.26, 6, 2, 7.8, 5.56)
A(vco_varactors, via1, 0.68, 32.62, 0.26, 0.26, 6, 3, 7.8, 0.63)
A(vco_varactors, via1, 3.44, 37.97, 0.26, 0.26, 6, 2, 7.8, 5.56)
A(vco_varactors, via1, 0.68, 40.12, 0.26, 0.26, 6, 3, 7.8, 0.63)
A(vco_varactors, via1, 3.44, 45.47, 0.26, 0.26, 6, 2, 7.8, 5.56)
A(vco_varactors, via1, 0.68, 47.62, 0.26, 0.26, 6, 3, 7.8, 0.63)
A(vco_varactors, metal2, 0.21, -2.41, 2.385, 2.37, 6, 1, 7.8, 0)
A(vco_varactors, metal2, 0.21, -0.04, 1.2, 49.24, 6, 1, 7.8, 0)
A(vco_varactors, metal2, 2.97, 0.41, 1.2, 49.21, 6, 1, 7.8, 0)
A(vco_varactors, metal2, 2.385, 49.62, 2.37, 2.37, 6, 1, 7.8, 0)
A(vco_varactors, via2, 0.335, -2.3, 0.26, 0.26, 4, 4, 0.63, 0.63)
A(vco_varactors, via2, 8.135, -2.3, 0.26, 0.26, 4, 4, 0.63, 0.63)
A(vco_varactors, via2, 15.935, -2.3, 0.26, 0.26, 4, 4, 0.63, 0.63)
A(vco_varactors, via2, 23.735, -2.3, 0.26, 0.26, 4, 4, 0.63, 0.63)
A(vco_varactors, via2, 31.535, -2.3, 0.26, 0.26, 4, 4, 0.63, 0.63)
A(vco_varactors, via2, 39.335, -2.3, 0.26, 0.26, 4, 4, 0.63, 0.63)
A(vco_varactors, via2, 2.495, 49.73, 0.26, 0.26, 4, 4, 0.63, 0.63)
A(vco_varactors, via2, 10.295, 49.73, 0.26, 0.26, 4, 4, 0.63, 0.63)
A(vco_varactors, via2, 18.095, 49.73, 0.26, 0.26, 4, 4, 0.63, 0.63)
A(vco_varactors, via2, 25.895, 49.73, 0.26, 0.26, 4, 4, 0.63, 0.63)
A(vco_varactors, via2, 33.695, 49.73, 0.26, 0.26, 4, 4, 0.63, 0.63)
A(vco_varactors, via2, 41.495, 49.73, 0.26, 0.26, 4, 4, 0.63, 0.63)
R(vco_varactors, metal3, [(0.225,-2.41,18.195,-0.04), (23.625,-2.41,41.595,-0.04), (0.51,-0.04,16.71,-0.01), (23.91,-0.04,40.11,-0.01), (3.27,49.59,42.87,49.62), (2.385,49.62,43.755,51.99)])
R(vco_varactors, metal3_pin, [(0.6,-2.41,1.02,-1.99), (24,-2.41,24.42,-1.99), (3.36,51.57,3.78,51.99)])
A(vco_varactors, L166_5, 1.07, 0.88, 5, 5, 6, 7, 7.8, 7.5)
A(vco_varactors, lvpwell, -0.3, -0.3, 7.74, 0.6, 6, 2, 7.8, 6.76)
A(vco_varactors, lvpwell, -0.3, 0.3, 0.81, 6.16, 1, 7, 0, 7.5)
A(vco_varactors, lvpwell, 6.63, 0.3, 0.81, 6.16, 1, 7, 0, 7.5)
A(vco_varactors, lvpwell, 7.5, 0.3, 0.81, 6.16, 1, 7, 0, 7.5)
A(vco_varactors, lvpwell, 14.43, 0.3, 0.81, 6.16, 1, 7, 0, 7.5)
A(vco_varactors, lvpwell, 15.3, 0.3, 0.81, 6.16, 1, 7, 0, 7.5)
A(vco_varactors, lvpwell, 22.23, 0.3, 0.81, 6.16, 1, 7, 0, 7.5)
A(vco_varactors, lvpwell, 23.1, 0.3, 0.81, 6.16, 1, 7, 0, 7.5)
A(vco_varactors, lvpwell, 30.03, 0.3, 0.81, 6.16, 1, 7, 0, 7.5)
A(vco_varactors, lvpwell, 30.9, 0.3, 0.81, 6.16, 1, 7, 0, 7.5)
A(vco_varactors, lvpwell, 37.83, 0.3, 0.81, 6.16, 1, 7, 0, 7.5)
A(vco_varactors, lvpwell, 38.7, 0.3, 0.81, 6.16, 1, 7, 0, 7.5)
A(vco_varactors, lvpwell, 45.63, 0.3, 0.81, 6.16, 1, 7, 0, 7.5)
A(vco_varactors, lvpwell, -0.3, 7.2, 7.74, 0.6, 6, 2, 7.8, 6.76)
A(vco_varactors, lvpwell, -0.3, 14.7, 7.74, 0.6, 6, 2, 7.8, 6.76)
A(vco_varactors, lvpwell, -0.3, 22.2, 7.74, 0.6, 6, 2, 7.8, 6.76)
A(vco_varactors, lvpwell, -0.3, 29.7, 7.74, 0.6, 6, 2, 7.8, 6.76)
A(vco_varactors, lvpwell, -0.3, 37.2, 7.74, 0.6, 6, 2, 7.8, 6.76)
A(vco_varactors, lvpwell, -0.3, 44.7, 7.74, 0.6, 6, 2, 7.8, 6.76)
vco_varactors.add(gdstk.Label('cap_bias', (3.57,51.78), layer=42, texttype=10))
vco_varactors.add(gdstk.Label('OUT_n', (0.81,-2.2), layer=42, texttype=10))
vco_varactors.add(gdstk.Label('OUT_p', (24.21,-2.2), layer=42, texttype=10))

lib.write_gds('vco_varactors.gds')
